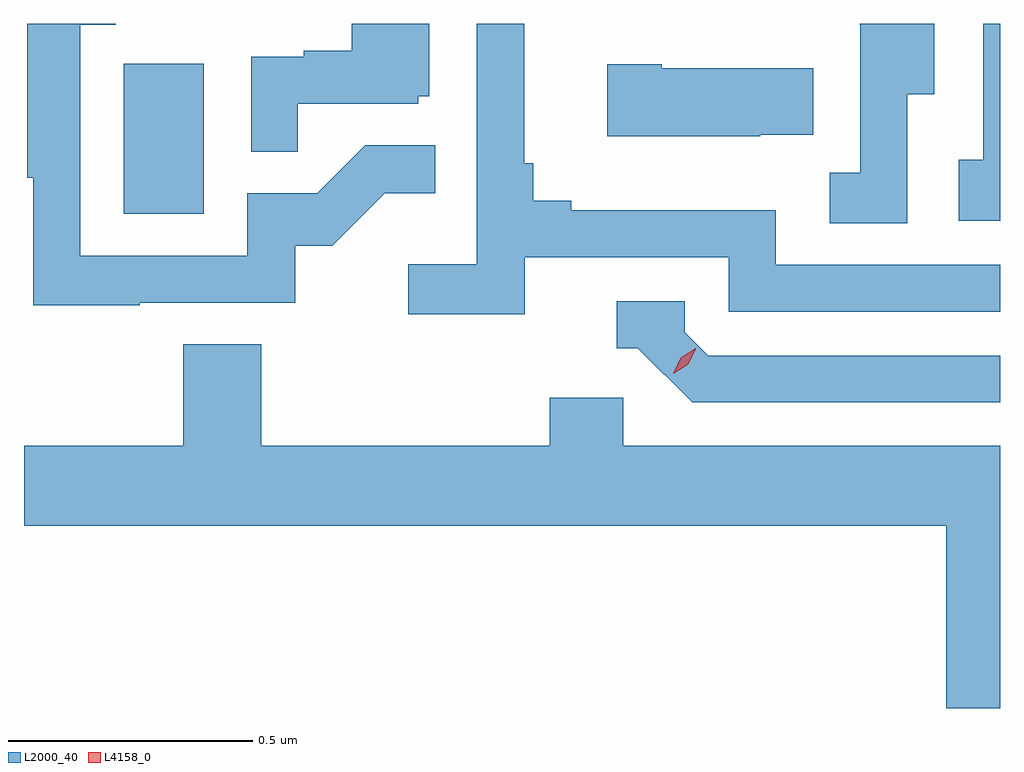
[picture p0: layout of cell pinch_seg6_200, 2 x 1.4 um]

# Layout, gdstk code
import gdstk
lib = gdstk.Library(unit=1e-6, precision=1e-09)
def R(c, l, rs):  # rectangles x0, y0, x1, y1
    for r in rs: c.add(gdstk.rectangle(r[:2], r[2:], *l))
def P(c, l, *ps):  # polygons
    for p in ps: c.add(gdstk.Polygon(p, *l))
L2000_40 = (2000, 40)
L4158_0 = (4158, 0)

pinch_seg6_200 = lib.new_cell('pinch_seg6_200')
R(pinch_seg6_200, L2000_40, [(1014.47,917.34,1014.634,917.647)])
P(pinch_seg6_200, L2000_40, [(1015.292,917.25),(1015.71,917.25),(1015.71,917.139),(1016.266,917.139),(1016.266,917.235),(1015.806,917.235),(1015.806,917.347),(1015.387,917.347),(1015.387,917.366),(1015.31,917.366),(1015.31,917.443),(1015.291,917.443),(1015.291,917.729),(1015.194,917.729),(1015.194,917.236),(1015.053,917.236),(1015.053,917.134),(1015.292,917.134)],
  [(1016.076,917.584),(1016.131,917.584),(1016.131,917.729),(1015.979,917.729),(1015.979,917.727),(1015.98,917.727),(1015.98,917.423),(1015.917,917.423),(1015.917,917.32),(1016.076,917.32)],
  [(1014.503,917.157),(1014.822,917.157),(1014.822,917.274),(1014.898,917.274),(1015.005,917.381),(1015.109,917.381),(1015.109,917.48),(1014.965,917.48),(1014.867,917.382),(1014.723,917.382),(1014.723,917.253),(1014.381,917.253),(1014.381,917.727),(1014.454,917.727),(1014.454,917.729),(1014.273,917.729),(1014.273,917.413),(1014.285,917.413),(1014.285,917.152),(1014.503,917.152)],
  [(1016.266,917.729),(1016.232,917.729),(1016.232,917.45),(1016.181,917.45),(1016.181,917.325),(1016.266,917.325)],
  [(1014.827,917.565),(1015.074,917.565),(1015.074,917.58),(1015.096,917.58),(1015.096,917.729),(1014.938,917.729),(1014.938,917.674),(1014.839,917.674),(1014.839,917.661),(1014.732,917.661),(1014.732,917.467),(1014.827,917.467)],
  [(1015.775,917.501),(1015.883,917.501),(1015.883,917.638),(1015.573,917.638),(1015.573,917.646),(1015.461,917.646),(1015.461,917.498),(1015.775,917.498)],
  [(1016.266,917.049),(1015.668,917.049),(1015.62,917.097),(1015.62,917.16),(1015.481,917.16),(1015.481,917.064),(1015.524,917.064),(1015.635,916.953),(1016.266,916.953)],
  [(1016.266,916.864),(1015.494,916.864),(1015.494,916.962),(1015.343,916.962),(1015.343,916.864),(1014.752,916.864),(1014.752,917.072),(1014.592,917.072),(1014.592,916.864),(1014.266,916.864),(1014.266,916.7),(1016.156,916.7),(1016.156,916.326),(1016.266,916.326)])
P(pinch_seg6_200, L4158_0, [(1015.596,917.012),(1015.596,917.012),(1015.612,917.044),(1015.643,917.064),(1015.643,917.064),(1015.643,917.063),(1015.627,917.031),(1015.596,917.012)])

lib.write_gds('pinch_seg6_200.gds')
